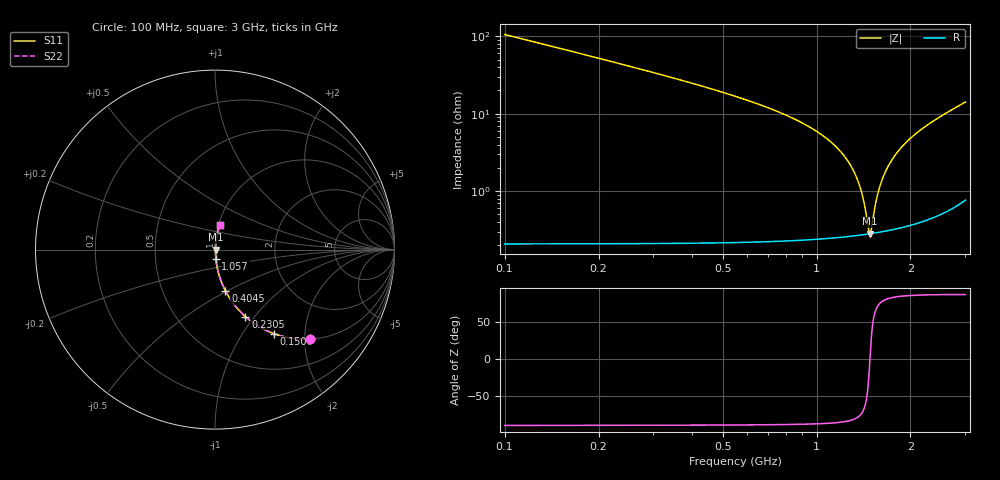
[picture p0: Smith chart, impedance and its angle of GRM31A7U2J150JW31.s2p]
!Murata Part Number: GRM31A7U2J150JW31
!These Parameters are Measured in Series Mode Connection
!Data Generated on Mar 30, 2021
!  o--ll--o
!Port1  Port2
!  o------o
!Operation Temp=25[degC], DC Bias Voltage=0[V]
!Freq. Start=100[MHz] Stop=3[GHz] 401[Steps]
# Hz S RI R 50
!Freq.(Hz) S11(Real) S11(Imag) S21(Real) S21(Imag) S12(Real) S12(Imag) S22(Real) S22(Imag)
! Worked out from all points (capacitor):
!   401 points, 100 MHz to 3 GHz, reference 50 ohm
!   read as one part in series: C = 15 pF near 114.5 MHz
!   lowest |Z| = 282 mohm at 1.485 GHz (marker M1)
!   series resonance near 1.483 GHz, so ESL is about 770 pH
!   S11 on the Smith chart (normalised r, x): 100 MHz: 1.00, -2.11; 150.8 MHz: 1.00, -1.39; 230.5 MHz: 1.00, -0.90; 404.5 MHz: 1.00, -0.49; 1.057 GHz: 1.00, -0.10; 3 GHz: 1.02, +0.28
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1e8  0.5274 -0.4983  0.4726 0.4983  0.4726 0.4983  0.5274 -0.4983
1.5075e8  0.3274 -0.4678  0.6726 0.4678  0.6726 0.4678  0.3274 -0.4678
2.305e8  0.1694 -0.3728  0.8306 0.3728  0.8306 0.3728  0.1694 -0.3728
3.03e8  0.1031 -0.301  0.8969 0.301  0.8969 0.301  0.1031 -0.301
4.045e8  0.0579 -0.2291  0.9421 0.2291  0.9421 0.2291  0.0579 -0.2291
5.8575e8  0.0252 -0.1499  0.9748 0.1499  0.9748 0.1499  0.0252 -0.1499
1.057e9  0.00497 -0.0504  0.995 0.0504  0.995 0.0504  0.00497 -0.0504
1.0715e9  0.00477 -0.0483  0.9952 0.0483  0.9952 0.0483  0.00477 -0.0483
1.22375e9  0.00336 -0.0285  0.9966 0.0285  0.9966 0.0285  0.00336 -0.0285
1.3325e9  0.0029 -0.0159  0.9971 0.0159  0.9971 0.0159  0.0029 -0.0159
1.39775e9  0.00279 -0.00885  0.9972 0.00885  0.9972 0.00885  0.00279 -0.00885
1.42675e9  0.00278 -0.0058  0.9972 0.0058  0.9972 0.0058  0.00278 -0.0058
1.463e9  0.00279 -0.00205  0.9972 0.00205  0.9972 0.00205  0.00279 -0.00205
1.48475e9  0.00281 0.000166  0.9972 -0.000166  0.9972 -0.000166  0.00281 0.000166
1.49925e9  0.00283 0.00163  0.9972 -0.00163  0.9972 -0.00163  0.00283 0.00163
1.55e9  0.00293 0.00666  0.9971 -0.00666  0.9971 -0.00666  0.00293 0.00666
1.61525e9  0.00314 0.013  0.9969 -0.013  0.9969 -0.013  0.00314 0.013
1.71675e9  0.00362 0.0225  0.9964 -0.0225  0.9964 -0.0225  0.00362 0.0225
1.8545e9  0.00455 0.0349  0.9954 -0.0349  0.9954 -0.0349  0.00455 0.0349
2.03575e9  0.00626 0.0507  0.9937 -0.0507  0.9937 -0.0507  0.00626 0.0507
2.5215e9  0.0137 0.0925  0.9863 -0.0925  0.9863 -0.0925  0.0137 0.0925
3e9  0.0268 0.1366  0.9732 -0.1366  0.9732 -0.1366  0.0268 0.1366
